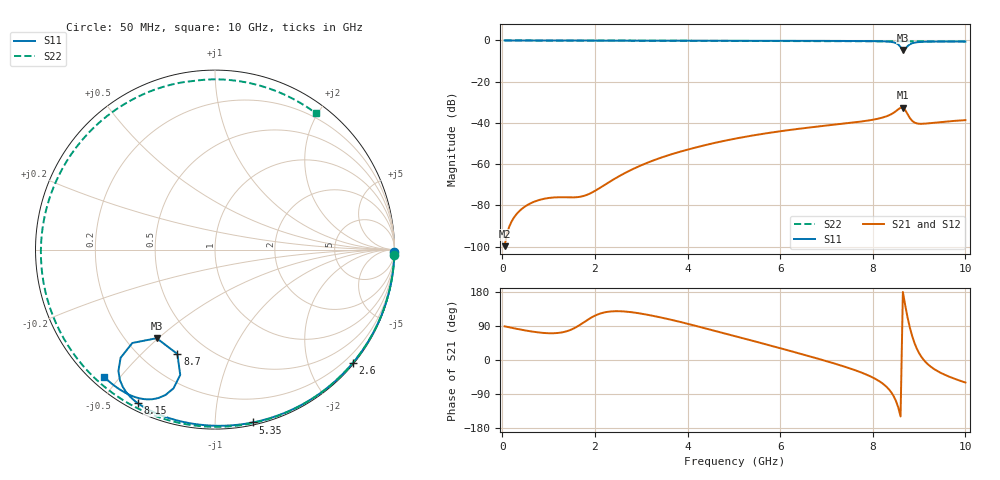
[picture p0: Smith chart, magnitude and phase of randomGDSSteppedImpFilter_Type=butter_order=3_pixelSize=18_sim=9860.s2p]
! freq	dB(S11)	phase(S11)	dB(S12)	phase(S12)
!  dB(S21)	phase(S21)	dB(S22)	phase(S22)
!S-par simulation data
#  GHz  S  DB  R 50
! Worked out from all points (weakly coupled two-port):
!   200 points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, 50 MHz to 10 GHz, reference 50 ohm
!   highest |S21| = -32.56 dB at 8.65 GHz (marker M1); lowest = -99.7 dB at 50 MHz (marker M2)
!   lowest |S11| = -4.6 dB at 8.65 GHz (marker M3), VSWR 3.89, Z = 16.3 - j24.7 ohm
!   |S11| at or under -10 dB: nowhere
!   |S22| runs from -0.5 to 0.0 dB; largest |S21 - S12| = 0
!   S11 on the Smith chart (normalised r, x): 50 MHz: open; 2.6 GHz: 0.03, -2.80; 5.35 GHz: 0.02, -1.24; 8.15 GHz: 0.03, -0.62; 8.7 GHz: 0.34, -0.65; 10 GHz: 0.04, -0.45
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0.05  -0.00 -0.8  -99.75 88.8  -99.75 88.8  -0.00 -1.8
0.5  -0.01 -7.7  -80.38 77.9  -80.38 77.9  -0.02 -18.0
0.85  -0.02 -13.1  -77.03 71.9  -77.03 71.9  -0.04 -30.5
1.75  -0.03 -26.7  -75.44 98.6  -75.44 98.6  -0.08 -61.4
2.6  -0.05 -39.3  -64.86 128.4  -64.86 128.4  -0.11 -88.7
3.4  -0.07 -50.8  -57.05 112.8  -57.05 112.8  -0.14 -112.9
4.25  -0.09 -62.8  -51.48 87.7  -51.48 87.7  -0.18 -137.2
5.05  -0.11 -73.7  -47.52 62.3  -47.52 62.3  -0.22 -159.3
5.35  -0.12 -77.7  -46.30 52.6  -46.30 52.6  -0.24 -167.5
6.05  -0.15 -86.9  -43.87 29.5  -43.87 29.5  -0.28 173.2
6.7  -0.19 -95.4  -42.03 7.5  -42.03 7.5  -0.32 155.1
7.4  -0.23 -104.7  -40.27 -17.9  -40.27 -17.9  -0.37 134.9
8.15  -0.37 -116.7  -37.75 -56.7  -37.75 -56.7  -0.42 112.3
8.35  -0.58 -122.0  -36.29 -77.6  -36.29 -77.6  -0.43 106.1
8.55  -1.94 -131.1  -33.39 -125.0  -33.39 -125.0  -0.46 99.9
8.6  -3.16 -131.5  -32.63 -149.0  -32.63 -149.0  -0.47 98.4
8.65  -4.57 -123.4  -32.56 179.5  -32.56 179.5  -0.47 96.8
8.7  -4.18 -109.8  -33.73 144.7  -33.73 144.7  -0.47 95.3
8.8  -1.87 -106.6  -37.58 86.0  -37.58 86.0  -0.46 92.2
8.95  -0.88 -112.7  -40.21 30.2  -40.21 30.2  -0.46 87.4
9.3  -0.54 -120.9  -39.94 -21.8  -39.94 -21.8  -0.47 76.1
10  -0.53 -131.1  -38.64 -59.4  -38.64 -59.4  -0.49 53.4
